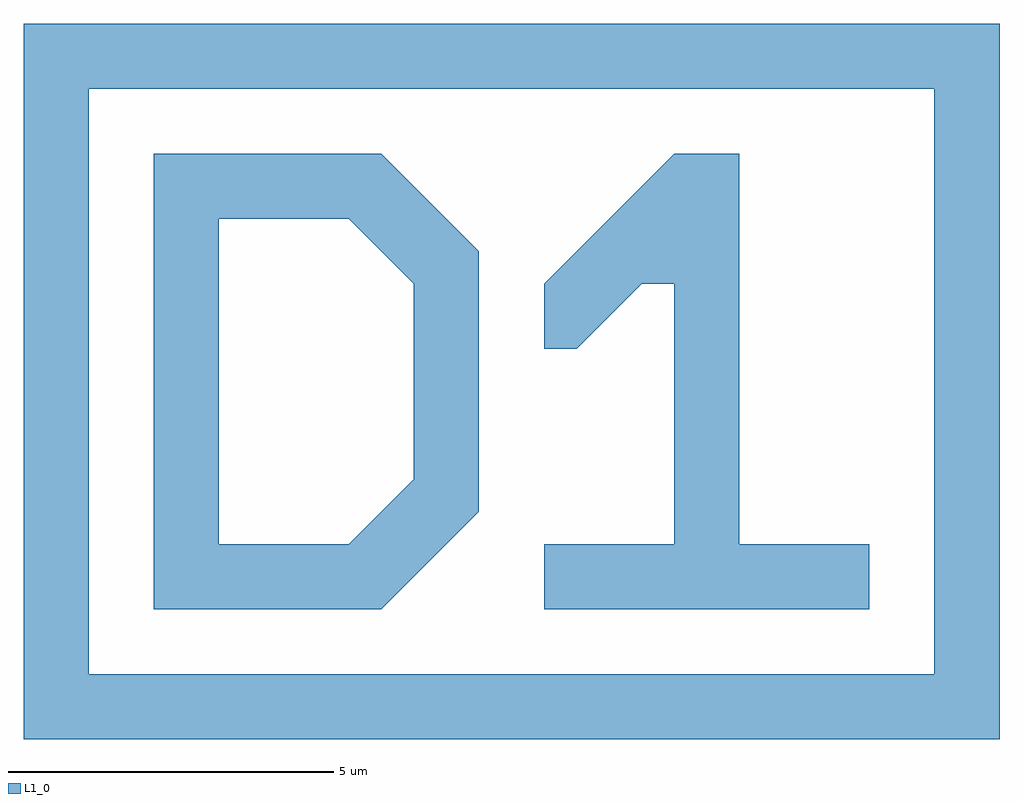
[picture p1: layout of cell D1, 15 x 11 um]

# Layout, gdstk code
import gdstk
lib = gdstk.Library(unit=1e-6, precision=5e-09)
def P(c, l, *ps):  # polygons
    for p in ps: c.add(gdstk.Polygon(p, *l))
L1_0 = (1, 0)

text_6_1 = lib.new_cell('TEXT$6$1')
P(text_6_1, L1_0, [(0,0),(0,7),(3.5,7),(4.5,6),(1,6),(1,1),(3,1),(4,2),(4,5),(3,6),(4.5,6),(5,5.5),(5,1.5),(3.5,0)],
  [(6,0),(6,1),(8,1),(8,5),(7.5,5),(6.5,4),(6,4),(6,5),(8,7),(9,7),(9,1),(11,1),(11,0)])

c_d1 = lib.new_cell('D1')
c_d1.add(gdstk.FlexPath([(0.5,0.5),(0.5,10.5),(14.5,10.5),(14.5,0.5),(0.5,0.5)], 1, ends="extended", simple_path=True, layer=1, datatype=0))  # L1_0
c_d1.add(gdstk.Reference(text_6_1, (2,2)))

lib.write_gds('D1.gds')
